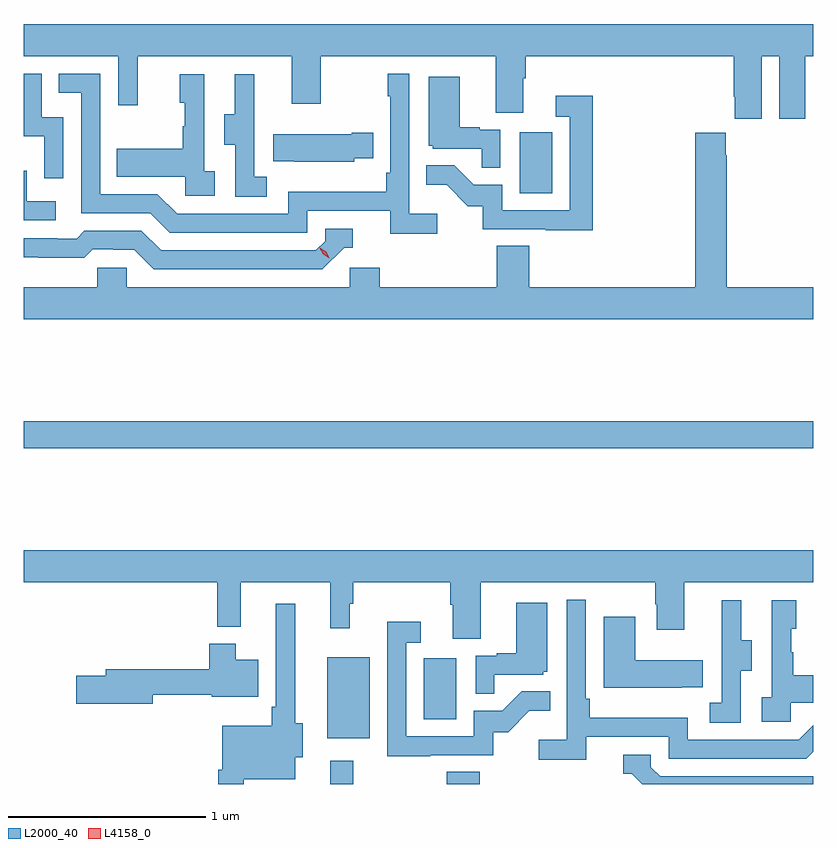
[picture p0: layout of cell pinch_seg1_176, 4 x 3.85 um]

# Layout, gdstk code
import gdstk
lib = gdstk.Library(unit=1e-6, precision=1e-09)
def R(c, l, rs):  # rectangles x0, y0, x1, y1
    for r in rs: c.add(gdstk.rectangle(r[:2], r[2:], *l))
def P(c, l, *ps):  # polygons
    for p in ps: c.add(gdstk.Polygon(p, *l))
L2000_40 = (2000, 40)
L4158_0 = (4158, 0)

pinch_seg1_176 = lib.new_cell('pinch_seg1_176')
R(pinch_seg1_176, L2000_40, [(1084.592,560.035,1084.709,560.152), (1085.183,560.035,1085.348,560.096), (1084.577,560.267,1084.792,560.677), (1085.066,560.364,1085.23,560.671), (1083.039,561.736,1087.039,561.872), (1085.552,563.028,1085.716,563.335)])
P(pinch_seg1_176, L2000_40, [(1086.778,563.72),(1086.866,563.72),(1086.866,563.403),(1086.997,563.403),(1086.997,563.72),(1087.039,563.72),(1087.039,563.884),(1083.039,563.884),(1083.039,563.72),(1083.519,563.72),(1083.519,563.472),(1083.617,563.472),(1083.617,563.72),(1084.397,563.72),(1084.397,563.481),(1084.545,563.481),(1084.545,563.72),(1085.429,563.72),(1085.429,563.434),(1085.569,563.434),(1085.569,563.608),(1085.582,563.608),(1085.582,563.72),(1086.635,563.72),(1086.635,563.515),(1086.641,563.515),(1086.641,563.403),(1086.778,563.403)],
  [(1085.134,562.924),(1084.992,562.924),(1084.992,563.632),(1084.884,563.632),(1084.884,563.519),(1084.896,563.519),(1084.896,563.131),(1084.876,563.131),(1084.876,563.035),(1084.38,563.035),(1084.38,562.923),(1083.816,562.923),(1083.717,563.022),(1083.426,563.022),(1083.426,563.631),(1083.217,563.631),(1083.217,563.535),(1083.33,563.535),(1083.33,562.926),(1083.68,562.926),(1083.779,562.827),(1084.476,562.827),(1084.476,562.938),(1084.895,562.938),(1084.895,562.822),(1085.134,562.822)],
  [(1083.24,563.412),(1083.132,563.412),(1083.132,563.631),(1083.039,563.631),(1083.039,563.315),(1083.144,563.315),(1083.144,563.103),(1083.24,563.103)],
  [(1084.006,563.138),(1083.954,563.138),(1083.954,563.629),(1083.83,563.629),(1083.83,563.484),(1083.856,563.484),(1083.856,563.366),(1083.846,563.366),(1083.846,563.251),(1083.511,563.251),(1083.511,563.111),(1083.858,563.111),(1083.858,563.013),(1084.006,563.013)],
  [(1084.27,563.111),(1084.206,563.111),(1084.206,563.415),(1084.208,563.415),(1084.208,563.629),(1084.109,563.629),(1084.109,563.427),(1084.055,563.427),(1084.055,563.272),(1084.11,563.272),(1084.11,563.008),(1084.27,563.008)],
  [(1085.454,563.349),(1085.348,563.349),(1085.348,563.362),(1085.248,563.362),(1085.248,563.617),(1085.09,563.617),(1085.09,563.268),(1085.112,563.268),(1085.112,563.253),(1085.359,563.253),(1085.359,563.155),(1085.454,563.155)],
  [(1085.921,563.521),(1085.733,563.521),(1085.733,563.415),(1085.805,563.415),(1085.805,562.941),(1085.463,562.941),(1085.463,563.07),(1085.319,563.07),(1085.221,563.168),(1085.077,563.168),(1085.077,563.069),(1085.181,563.069),(1085.288,562.962),(1085.365,562.962),(1085.365,562.845),(1085.683,562.845),(1085.683,562.84),(1085.921,562.84)],
  [(1084.713,563.204),(1084.811,563.204),(1084.811,563.334),(1084.7,563.334),(1084.7,563.326),(1084.303,563.326),(1084.303,563.189),(1084.411,563.189),(1084.411,563.186),(1084.713,563.186)],
  [(1087.039,562.552),(1086.6,562.552),(1086.6,563.219),(1086.595,563.219),(1086.595,563.332),(1086.44,563.332),(1086.44,562.552),(1085.6,562.552),(1085.6,562.76),(1085.435,562.76),(1085.435,562.552),(1084.844,562.552),(1084.844,562.65),(1084.692,562.65),(1084.692,562.552),(1083.561,562.552),(1083.561,562.65),(1083.411,562.65),(1083.411,562.552),(1083.039,562.552),(1083.039,562.388),(1087.039,562.388)],
  [(1083.202,562.986),(1083.054,562.986),(1083.054,563.14),(1083.039,563.14),(1083.039,562.89),(1083.202,562.89)],
  [(1084.662,562.752),(1084.705,562.752),(1084.705,562.848),(1084.566,562.848),(1084.566,562.785),(1084.518,562.737),(1083.735,562.737),(1083.636,562.836),(1083.347,562.836),(1083.308,562.797),(1083.209,562.797),(1083.209,562.8),(1083.039,562.8),(1083.039,562.703),(1083.114,562.703),(1083.114,562.701),(1083.347,562.701),(1083.389,562.743),(1083.492,562.743),(1083.492,562.74),(1083.599,562.74),(1083.698,562.641),(1084.551,562.641)],
  [(1085.353,561.056),(1086.238,561.056),(1086.238,560.945),(1086.245,560.945),(1086.245,560.817),(1086.385,560.817),(1086.385,561.056),(1087.039,561.056),(1087.039,561.22),(1083.039,561.22),(1083.039,561.056),(1084.021,561.056),(1084.021,560.831),(1084.139,560.831),(1084.139,561.056),(1084.592,561.056),(1084.592,560.823),(1084.691,560.823),(1084.691,560.948),(1084.709,560.948),(1084.709,561.056),(1085.201,561.056),(1085.201,560.944),(1085.213,560.944),(1085.213,560.77),(1085.353,560.77)],
  [(1085.888,560.274),(1086.306,560.274),(1086.306,560.163),(1087.003,560.163),(1087.039,560.199),(1087.039,560.332),(1086.966,560.259),(1086.402,560.259),(1086.402,560.371),(1085.906,560.371),(1085.906,560.467),(1085.886,560.467),(1085.886,560.968),(1085.79,560.968),(1085.79,560.26),(1085.649,560.26),(1085.649,560.158),(1085.888,560.158)],
  [(1086.924,560.447),(1087.039,560.447),(1087.039,560.587),(1086.937,560.587),(1086.937,560.702),(1086.927,560.702),(1086.927,560.82),(1086.952,560.82),(1086.952,560.965),(1086.828,560.965),(1086.828,560.474),(1086.777,560.474),(1086.777,560.349),(1086.924,560.349)],
  [(1086.672,560.608),(1086.727,560.608),(1086.727,560.763),(1086.673,560.763),(1086.673,560.965),(1086.575,560.965),(1086.575,560.751),(1086.576,560.751),(1086.576,560.447),(1086.513,560.447),(1086.513,560.344),(1086.672,560.344)],
  [(1085.423,560.589),(1085.67,560.589),(1085.67,560.604),(1085.692,560.604),(1085.692,560.953),(1085.534,560.953),(1085.534,560.698),(1085.435,560.698),(1085.435,560.685),(1085.328,560.685),(1085.328,560.491),(1085.423,560.491)],
  [(1084.153,560.06),(1084.414,560.06),(1084.414,560.171),(1084.453,560.171),(1084.453,560.342),(1084.414,560.342),(1084.414,560.947),(1084.317,560.947),(1084.317,560.425),(1084.297,560.425),(1084.297,560.329),(1084.044,560.329),(1084.044,560.107),(1084.024,560.107),(1084.024,560.035),(1084.153,560.035)],
  [(1086.371,560.525),(1086.479,560.525),(1086.479,560.662),(1086.136,560.662),(1086.136,560.881),(1085.978,560.881),(1085.978,560.522),(1086.371,560.522)],
  [(1085.099,560.181),(1085.418,560.181),(1085.418,560.298),(1085.494,560.298),(1085.601,560.405),(1085.705,560.405),(1085.705,560.504),(1085.561,560.504),(1085.463,560.406),(1085.319,560.406),(1085.319,560.277),(1084.977,560.277),(1084.977,560.751),(1085.05,560.751),(1085.05,560.857),(1084.881,560.857),(1084.881,560.176),(1085.099,560.176)],
  [(1083.694,560.488),(1083.992,560.488),(1083.992,560.477),(1084.228,560.477),(1084.228,560.665),(1084.114,560.665),(1084.114,560.746),(1083.98,560.746),(1083.98,560.617),(1083.455,560.617),(1083.455,560.583),(1083.306,560.583),(1083.306,560.441),(1083.694,560.441)],
  [(1087.039,560.073),(1086.264,560.073),(1086.216,560.121),(1086.216,560.184),(1086.077,560.184),(1086.077,560.088),(1086.12,560.088),(1086.173,560.035),(1087.039,560.035)])
P(pinch_seg1_176, L4158_0, [(1084.588,562.698),(1084.557,562.717),(1084.54,562.749),(1084.54,562.75),(1084.54,562.75),(1084.571,562.73),(1084.588,562.698),(1084.588,562.698)])

lib.write_gds('pinch_seg1_176.gds')
